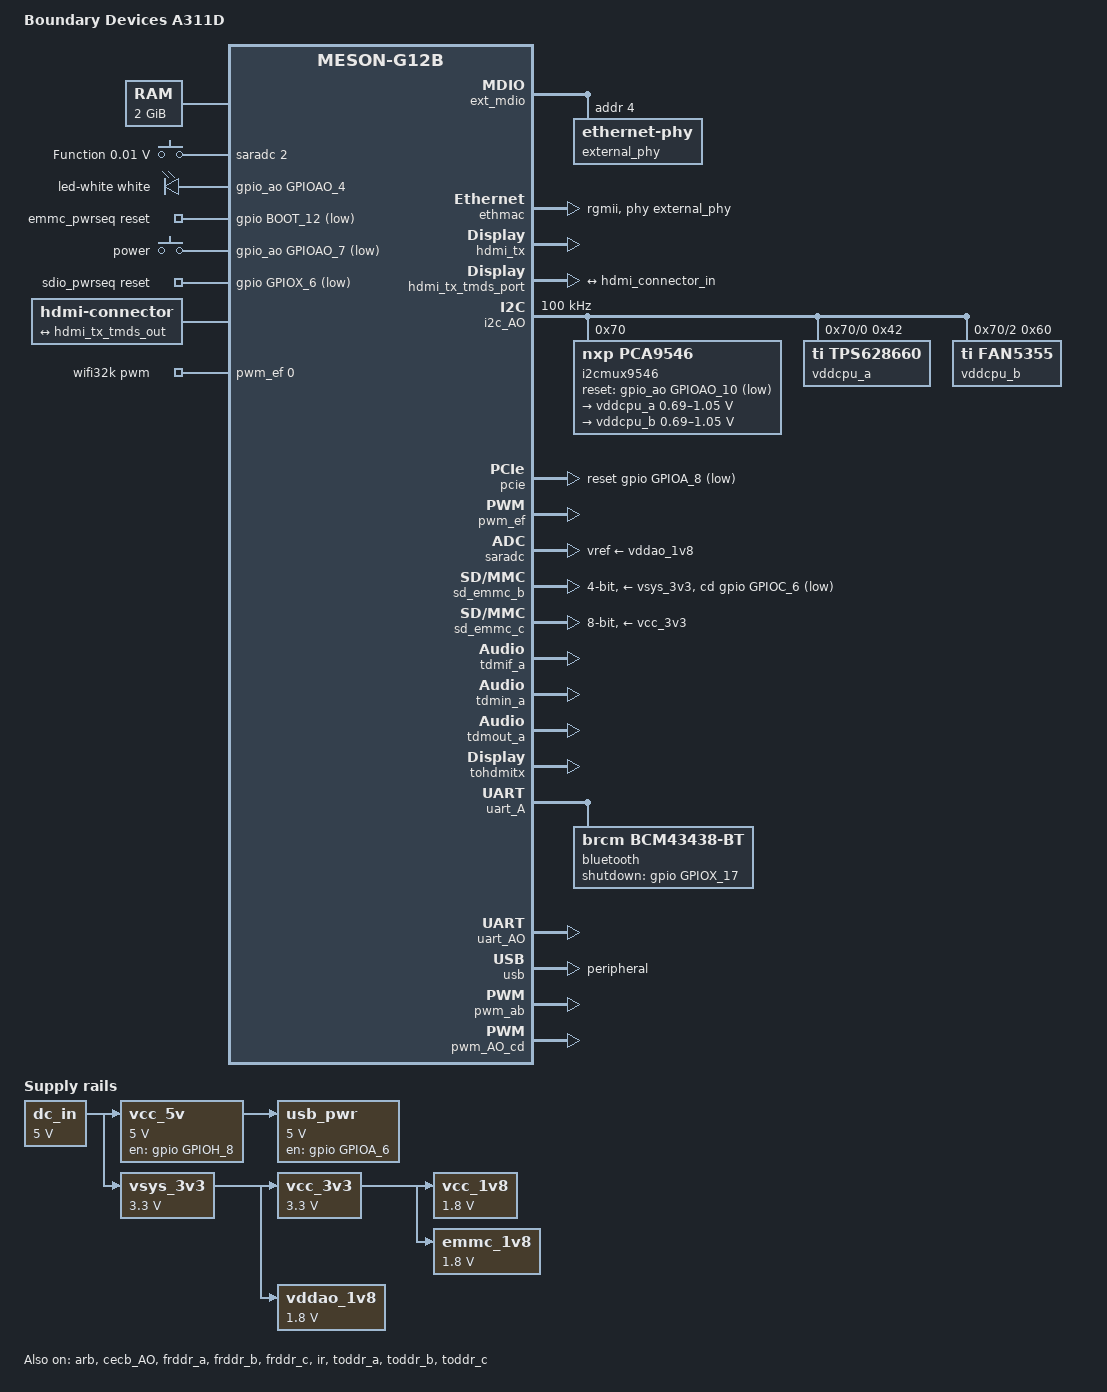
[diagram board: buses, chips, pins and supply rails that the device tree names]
// SPDX-License-Identifier: (GPL-2.0+ OR MIT)
/*
 * Copyright (c) 2019 BayLibre, SAS
 * Author: Neil Armstrong <narmstrong@baylibre.com>
 * Copyright (c) 2019 Christian Hewitt <christianshewitt@gmail.com>
 */
/dts-v1/;

#include "meson-g12b-a311d.dtsi"
#include <dt-bindings/input/input.h>
#include <dt-bindings/leds/common.h>
#include <dt-bindings/gpio/meson-g12a-gpio.h>
#include <dt-bindings/sound/meson-g12a-tohdmitx.h>

/ {
	compatible = "boundary,a311d", "amlogic,a311d", "amlogic,g12b";
	model = "Boundary Devices A311D";

	aliases {
		serial0 = &uart_AO;
		ethernet0 = &ethmac;
		rtc1 = &vrtc;
	};

	chosen {
		stdout-path = "serial0:115200n8";
	};

	memory@0 {
		device_type = "memory";
		reg = <0x0 0x0 0x0 0x80000000>;
	};

	adc-keys {
		compatible = "adc-keys";
		io-channels = <&saradc 2>;
		io-channel-names = "buttons";
		keyup-threshold-microvolt = <1710000>;

		button-function {
			label = "Function";
			linux,code = <KEY_FN>;
			press-threshold-microvolt = <10000>;
		};
	};

	leds {
		compatible = "gpio-leds";

		led-white {
			color = <LED_COLOR_ID_WHITE>;
			function = LED_FUNCTION_STATUS;
			gpios = <&gpio_ao GPIOAO_4 GPIO_ACTIVE_HIGH>;
			linux,default-trigger = "heartbeat";
		};
	};

	emmc_pwrseq: emmc-pwrseq {
		compatible = "mmc-pwrseq-emmc";
		reset-gpios = <&gpio BOOT_12 GPIO_ACTIVE_LOW>;
	};

	gpio-keys-polled {
		compatible = "gpio-keys-polled";
		poll-interval = <100>;

		power-button {
			label = "power";
			linux,code = <KEY_POWER>;
			gpios = <&gpio_ao GPIOAO_7 GPIO_ACTIVE_LOW>;
		};
	};

	sdio_pwrseq: sdio-pwrseq {
		compatible = "mmc-pwrseq-simple";
		reset-gpios = <&gpio GPIOX_6 GPIO_ACTIVE_LOW>;
		clocks = <&wifi32k>;
		clock-names = "ext_clock";
	};

	dc_in: regulator-dc_in {
		compatible = "regulator-fixed";
		regulator-name = "DC_IN";
		regulator-min-microvolt = <5000000>;
		regulator-max-microvolt = <5000000>;
		regulator-always-on;
	};

	vcc_5v: regulator-vcc_5v {
		compatible = "regulator-fixed";
		regulator-name = "VCC_5V";
		regulator-min-microvolt = <5000000>;
		regulator-max-microvolt = <5000000>;
		vin-supply = <&dc_in>;

		gpio = <&gpio GPIOH_8 GPIO_OPEN_DRAIN>;
		enable-active-high;
	};

	vcc_1v8: regulator-vcc_1v8 {
		compatible = "regulator-fixed";
		regulator-name = "VCC_1V8";
		regulator-min-microvolt = <1800000>;
		regulator-max-microvolt = <1800000>;
		vin-supply = <&vcc_3v3>;
		regulator-always-on;
	};

	vcc_3v3: regulator-vcc_3v3 {
		compatible = "regulator-fixed";
		regulator-name = "VCC_3V3";
		regulator-min-microvolt = <3300000>;
		regulator-max-microvolt = <3300000>;
		vin-supply = <&vsys_3v3>;
		regulator-always-on;
		/* FIXME: actually controlled by VDDCPU_B_EN */
	};

	vddao_1v8: regulator-vddao_1v8 {
		compatible = "regulator-fixed";
		regulator-name = "VDDIO_AO1V8";
		regulator-min-microvolt = <1800000>;
		regulator-max-microvolt = <1800000>;
		vin-supply = <&vsys_3v3>;
		regulator-always-on;
	};

	emmc_1v8: regulator-emmc_1v8 {
		compatible = "regulator-fixed";
		regulator-name = "EMMC_AO1V8";
		regulator-min-microvolt = <1800000>;
		regulator-max-microvolt = <1800000>;
		vin-supply = <&vcc_3v3>;
		regulator-always-on;
	};

	vsys_3v3: regulator-vsys_3v3 {
		compatible = "regulator-fixed";
		regulator-name = "VSYS_3V3";
		regulator-min-microvolt = <3300000>;
		regulator-max-microvolt = <3300000>;
		vin-supply = <&dc_in>;
		regulator-always-on;
	};

	usb_pwr: regulator-usb_pwr {
		compatible = "regulator-fixed";
		regulator-name = "USB_PWR";
		regulator-min-microvolt = <5000000>;
		regulator-max-microvolt = <5000000>;
		vin-supply = <&vcc_5v>;

		gpio = <&gpio GPIOA_6 GPIO_ACTIVE_HIGH>;
		enable-active-high;
	};

	hdmi-connector {
		compatible = "hdmi-connector";
		type = "a";

		port {
			hdmi_connector_in: endpoint {
				remote-endpoint = <&hdmi_tx_tmds_out>;
			};
		};
	};


	sound {
		compatible = "amlogic,axg-sound-card";
		audio-aux-devs = <&tdmin_a>, <&tdmout_a>;
		audio-routing = "TDMOUT_A IN 0", "FRDDR_A OUT 0",
				"TDMOUT_A IN 1", "FRDDR_B OUT 0",
				"TDMOUT_A IN 2", "FRDDR_C OUT 0",
				"TDM_A Playback", "TDMOUT_A OUT",
				"TDMIN_A IN 0", "TDM_A Capture",
				"TDMIN_A IN 3", "TDM_A Loopback",
				"TODDR_A IN 0", "TDMIN_A OUT",
				"TODDR_B IN 0", "TDMIN_A OUT",
				"TODDR_C IN 0", "TDMIN_A OUT";

		assigned-clocks = <&clkc CLKID_MPLL2>,
				  <&clkc CLKID_MPLL0>,
				  <&clkc CLKID_MPLL1>;
		assigned-clock-parents = <0>, <0>, <0>;
		assigned-clock-rates = <294912000>,
				       <270950400>,
				       <393216000>;
		status = "okay";

		dai-link-0 {
			sound-dai = <&frddr_a>;
		};

		dai-link-1 {
			sound-dai = <&frddr_b>;
		};

		dai-link-2 {
			sound-dai = <&frddr_c>;
		};

		dai-link-3 {
			sound-dai = <&toddr_a>;
		};

		dai-link-4 {
			sound-dai = <&toddr_b>;
		};

		dai-link-5 {
			sound-dai = <&toddr_c>;
		};

		/* 8ch hdmi interface */
		dai-link-6 {
			sound-dai = <&tdmif_a>;
			dai-format = "i2s";
			dai-tdm-slot-tx-mask-0 = <1 1>;
			dai-tdm-slot-tx-mask-1 = <1 1>;
			dai-tdm-slot-tx-mask-2 = <1 1>;
			dai-tdm-slot-tx-mask-3 = <1 1>;
			mclk-fs = <256>;

			codec {
				sound-dai = <&tohdmitx TOHDMITX_I2S_IN_A>;
			};
		};

		/* hdmi glue */
		dai-link-7 {
			sound-dai = <&tohdmitx TOHDMITX_I2S_OUT>;

			codec {
				sound-dai = <&hdmi_tx>;
			};
		};
	};

	wifi32k: wifi32k {
		compatible = "pwm-clock";
		#clock-cells = <0>;
		clock-frequency = <32768>;
		pwms = <&pwm_ef 0 30518 0>; /* PWM_E at 32.768KHz */
	};
};


&arb {
	status = "okay";
};

&clkc_audio {
	status = "okay";
};

&cec_AO {
	pinctrl-0 = <&cec_ao_a_h_pins>;
	pinctrl-names = "default";
	status = "disabled";
	hdmi-phandle = <&hdmi_tx>;
};

&cecb_AO {
	pinctrl-0 = <&cec_ao_b_h_pins>;
	pinctrl-names = "default";
	status = "okay";
	hdmi-phandle = <&hdmi_tx>;
};

&cpu_thermal {
	trips {
		cpu_active: cpu-active {
			temperature = <80000>; /* millicelsius */
			hysteresis = <2000>; /* millicelsius */
			type = "active";
		};
	};

	cooling-maps {
		map {
			trip = <&cpu_active>;
#if 0
			cooling-device = <&khadas_mcu THERMAL_NO_LIMIT THERMAL_NO_LIMIT>;
#endif
		};
	};
};

&ext_mdio {
	external_phy: ethernet-phy@4 {
		/* Atheros AR8035 */
		interrupt-parent = <&gpio_intc>;
		/* MAC_INTR on GPIOZ_14 */
		interrupts = <26 IRQ_TYPE_LEVEL_LOW>;
		max-speed = <1000>;
		reg = <4>;
#if 0
		reset-assert-us = <10000>;
		reset-deassert-us = <30000>;
		reset-gpios = <&gpio GPIOZ_15 (GPIO_ACTIVE_LOW | GPIO_OPEN_DRAIN)>;
#endif
	};
};

&ethmac {
	pinctrl-0 = <&eth_pins>, <&eth_rgmii_pins>;
	pinctrl-names = "default";
	status = "okay";
	phy-mode = "rgmii";
	phy-handle = <&external_phy>;
	amlogic,tx-delay-ns = <2>;
};

&frddr_a {
	status = "okay";
};

&frddr_b {
	status = "okay";
};

&frddr_c {
	status = "okay";
};

&hdmi_tx {
	status = "okay";
	pinctrl-0 = <&hdmitx_hpd_pins>, <&hdmitx_ddc_pins>;
	pinctrl-names = "default";
	hdmi-supply = <&vcc_5v>;
};

&hdmi_tx_tmds_port {
	hdmi_tx_tmds_out: endpoint {
		remote-endpoint = <&hdmi_connector_in>;
	};
};

&i2c_AO {
	clock-frequency = <100000>;
	status = "okay";
	pinctrl-0 = <&i2c_ao_sck_pins>, <&i2c_ao_sda_pins>;
	pinctrl-names = "default";

	i2cmux9546@70 {
		#address-cells = <1>;
		#size-cells = <0>;
		compatible = "nxp,pca9546";
		reg = <0x70>;
		reset-gpios = <&gpio_ao GPIOAO_10 GPIO_ACTIVE_LOW>;
		status = "okay";

		i2c1a: i2c@0 {
			#address-cells = <1>;
			#size-cells = <0>;
			clock-frequency = <400000>;
			reg = <0>;
		};

		i2c1b: i2c@1 {
			#address-cells = <1>;
			#size-cells = <0>;
			reg = <1>;
		};

		i2c1c: i2c@2 {
			#address-cells = <1>;
			#size-cells = <0>;
			reg = <2>;
		};

		i2c1d: i2c@3 {
			#address-cells = <1>;
			#size-cells = <0>;
			reg = <3>;
		};
	};
};

&i2c1a {
	vddcpu_a: regulator-vddcpu-a@42 {
		/* TPS628660AYCG Regulator */
		compatible = "ti,tps628660";
		reg = <0x42>;
		regulator-name = "VDDCPU_A";
		regulator-min-microvolt = <690000>;
		regulator-max-microvolt = <1050000>;
		regulator-boot-on;
		regulator-always-on;
	};
};

&i2c1c {
	vddcpu_b: regulator-vddcpu-b@60 {
		/* fan5355 Regulator */
		compatible = "ti,fan5355";
		reg = <0x60>;
		regulator-name = "VDDCPU_B";
		regulator-min-microvolt = <690000>;
		regulator-max-microvolt = <1050000>;
		regulator-boot-on;
		regulator-always-on;
	};
};

&ir {
	status = "okay";
	pinctrl-0 = <&remote_input_ao_pins>;
	pinctrl-names = "default";
	linux,rc-map-name = "rc-khadas";
};

&pcie {
	reset-gpios = <&gpio GPIOA_8 GPIO_ACTIVE_LOW>;
};

&pwm_ef {
	status = "okay";
	pinctrl-0 = <&pwm_e_pins>;
	pinctrl-names = "default";
};

&saradc {
	status = "okay";
	vref-supply = <&vddao_1v8>;
};

#if 0
/* SDIO */
&sd_emmc_a {
	status = "okay";
	pinctrl-0 = <&sdio_pins>;
	pinctrl-1 = <&sdio_clk_gate_pins>;
	pinctrl-names = "default", "clk-gate";
	#address-cells = <1>;
	#size-cells = <0>;

	bus-width = <4>;
	cap-sd-highspeed;
	max-frequency = <100000000>;

	non-removable;
	disable-wp;

	/* WiFi firmware requires power to be kept while in suspend */
	keep-power-in-suspend;

	mmc-pwrseq = <&sdio_pwrseq>;

	vmmc-supply = <&vsys_3v3>;
	vqmmc-supply = <&vddao_1v8>;

	brcmf: wifi@1 {
		reg = <1>;
		compatible = "brcm,bcm4329-fmac";
	};
};
#endif

/* SD card */
&sd_emmc_b {
	status = "okay";
	pinctrl-0 = <&sdcard_c_pins>;
	pinctrl-1 = <&sdcard_clk_gate_c_pins>;
	pinctrl-names = "default", "clk-gate";

	bus-width = <4>;
	cap-sd-highspeed;
	max-frequency = <50000000>;
	disable-wp;

	cd-gpios = <&gpio GPIOC_6 GPIO_ACTIVE_LOW>;
	vmmc-supply = <&vsys_3v3>;
	vqmmc-supply = <&vsys_3v3>;
};

#if 1
/* eMMC */
&sd_emmc_c {
	status = "okay";
	pinctrl-0 = <&emmc_ctrl_pins>, <&emmc_data_8b_pins>, <&emmc_ds_pins>;
	pinctrl-1 = <&emmc_clk_gate_pins>;
	pinctrl-names = "default", "clk-gate";

	bus-width = <8>;
	cap-mmc-highspeed;
	mmc-ddr-1_8v;
	mmc-hs200-1_8v;
	max-frequency = <200000000>;
	disable-wp;

	mmc-pwrseq = <&emmc_pwrseq>;
	vmmc-supply = <&vcc_3v3>;
	vqmmc-supply = <&emmc_1v8>;
};
#endif

/*
 * EMMC_D4, EMMC_D5, EMMC_D6 and EMMC_D7 pins are shared between SPI NOR CS
 * and eMMC Data 4 to 7 pins.
 * Replace emmc_data_8b_pins to emmc_data_4b_pins from sd_emmc_c pinctrl-0,
 * and change bus-width to 4 then spifc can be enabled.
 */
&spifc {
	status = "disabled";
	pinctrl-0 = <&nor_pins>;
	pinctrl-names = "default";

	w25q128: spi-flash@0 {
		#address-cells = <1>;
		#size-cells = <1>;
		compatible = "winbond,w25q128fw", "jedec,spi-nor";
		reg = <0>;
		spi-max-frequency = <104000000>;
	};
};

&tdmif_a {
	status = "okay";
};

&tdmin_a {
	status = "okay";
};

&tdmout_a {
	status = "okay";
};

&toddr_a {
	status = "okay";
};

&toddr_b {
	status = "okay";
};

&toddr_c {
	status = "okay";
};

&tohdmitx {
	status = "okay";
};

&uart_A {
	status = "okay";
	pinctrl-0 = <&uart_a_pins>, <&uart_a_cts_rts_pins>;
	pinctrl-names = "default";
	uart-has-rtscts;

	bluetooth {
		compatible = "brcm,bcm43438-bt";
		shutdown-gpios = <&gpio GPIOX_17 GPIO_ACTIVE_HIGH>;
		max-speed = <2000000>;
		clocks = <&wifi32k>;
		clock-names = "lpo";
	};
};

&uart_AO {
	status = "okay";
	pinctrl-0 = <&uart_ao_a_pins>;
	pinctrl-names = "default";
};

&usb2_phy0 {
	phy-supply = <&dc_in>;
};

&usb2_phy1 {
	phy-supply = <&usb_pwr>;
};

&usb3_pcie_phy {
	phy-supply = <&usb_pwr>;
};

&usb {
	status = "okay";
	dr_mode = "peripheral";
};

&cpu0 {
	cpu-supply = <&vddcpu_b>;
	operating-points-v2 = <&cpu_opp_table_0>;
	clocks = <&clkc CLKID_CPU_CLK>;
	clock-latency = <50000>;
};

&cpu1 {
	cpu-supply = <&vddcpu_b>;
	operating-points-v2 = <&cpu_opp_table_0>;
	clocks = <&clkc CLKID_CPU_CLK>;
	clock-latency = <50000>;
};

&cpu100 {
	cpu-supply = <&vddcpu_a>;
	operating-points-v2 = <&cpub_opp_table_1>;
	clocks = <&clkc CLKID_CPUB_CLK>;
	clock-latency = <50000>;
};

&cpu101 {
	cpu-supply = <&vddcpu_a>;
	operating-points-v2 = <&cpub_opp_table_1>;
	clocks = <&clkc CLKID_CPUB_CLK>;
	clock-latency = <50000>;
};

&cpu102 {
	cpu-supply = <&vddcpu_a>;
	operating-points-v2 = <&cpub_opp_table_1>;
	clocks = <&clkc CLKID_CPUB_CLK>;
	clock-latency = <50000>;
};

&cpu103 {
	cpu-supply = <&vddcpu_a>;
	operating-points-v2 = <&cpub_opp_table_1>;
	clocks = <&clkc CLKID_CPUB_CLK>;
	clock-latency = <50000>;
};

&pwm_ab {
	pinctrl-0 = <&pwm_a_e_pins>;
	pinctrl-names = "default";
	clocks = <&xtal>;
	clock-names = "clkin0";
	status = "okay";
};

&pwm_AO_cd {
	pinctrl-0 = <&pwm_ao_d_e_pins>;
	pinctrl-names = "default";
	clocks = <&xtal>;
	clock-names = "clkin1";
	status = "okay";
};
